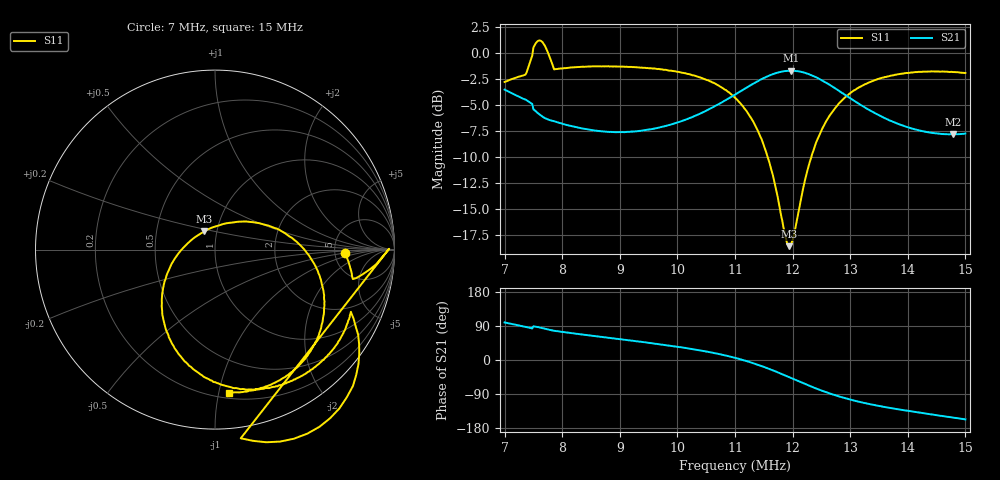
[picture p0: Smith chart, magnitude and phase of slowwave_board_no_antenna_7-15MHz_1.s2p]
! Measured S11/S21; S12/S22 are placeholders, NOT measurements. Calibration unverified.
! [Saver CAL applied] C:\Users\aknya\MyProjects\rf-simulator\calibration2.cal | Ideal standards assumed | Input: NanoVNA F V2 profile | COM3 | 2026-10-04T10:31:40.7739382-04:00 | device calibration unverified
# HZ S RI R 50
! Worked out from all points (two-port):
!   401 points, 7 MHz to 15 MHz, reference 50 ohm
!   highest |S21| = -1.71 dB at 11.98 MHz (marker M1); lowest = -7.8 dB at 14.78 MHz (marker M2)
!   |S21| within 3 dB of the highest: start of sweep to 7.424 MHz; 10.79 MHz to 13.1 MHz (2.308 MHz wide, 19.3 % of centre)
!   lowest |S11| = -18.6 dB at 11.94 MHz (marker M3), VSWR 1.27, Z = 43.5 + j8.96 ohm
!   |S11| at or under -10 dB: 11.57 MHz to 12.33 MHz (759.9 kHz wide, 6.36 % of centre)
!   S12 and S22 are empty: the file has one direction only
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7000000  0.7242 -0.0194  -0.1056 0.6571  0 0  0 0
7340000  0.766 -0.1571  0.0179 0.5993  0 0  0 0
7440000  0.8994 -0.0803  0.0519 0.5752  0 0  0 0
7540000  0.2861 -1.073  0.0193 0.5237  0 0  0 0
7620000  0.5826 -0.9868  0.0396 0.5008  0 0  0 0
7700000  0.7688 -0.7595  0.0626 0.4814  0 0  0 0
7800000  0.7974 -0.4734  0.0906 0.4649  0 0  0 0
7860000  0.7568 -0.3466  0.1045 0.457  0 0  0 0
8340000  0.6975 -0.4982  0.1663 0.4003  0 0  0 0
9680000  0.3469 -0.7622  0.3258 0.2916  0 0  0 0
1.042e7  0.0462 -0.756  0.4671 0.2147  0 0  0 0
1.1e7  -0.2093 -0.5715  0.6264 0.0629  0 0  0 0
1.15e7  -0.2888 -0.2143  0.7201 -0.2355  0 0  0 0
1.194e7  -0.0594 0.1015  0.5762 -0.5836  0 0  0 0
1.198e7  -0.0261 0.1186  0.5497 -0.6104  0 0  0 0
1.234e7  0.2974 0.1338  0.2518 -0.7366  0 0  0 0
1.262e7  0.4877 0.0115  0.0367 -0.7075  0 0  0 0
1.292e7  0.5903 -0.1685  -0.1199 -0.6139  0 0  0 0
1.368e7  0.5379 -0.5562  -0.2796 -0.3819  0 0  0 0
1.422e7  0.3789 -0.7164  -0.3209 -0.2743  0 0  0 0
1.478e7  0.167 -0.7912  -0.3575 -0.1914  0 0  0 0
1.5e7  0.0752 -0.7969  -0.3758 -0.1618  0 0  0 0
